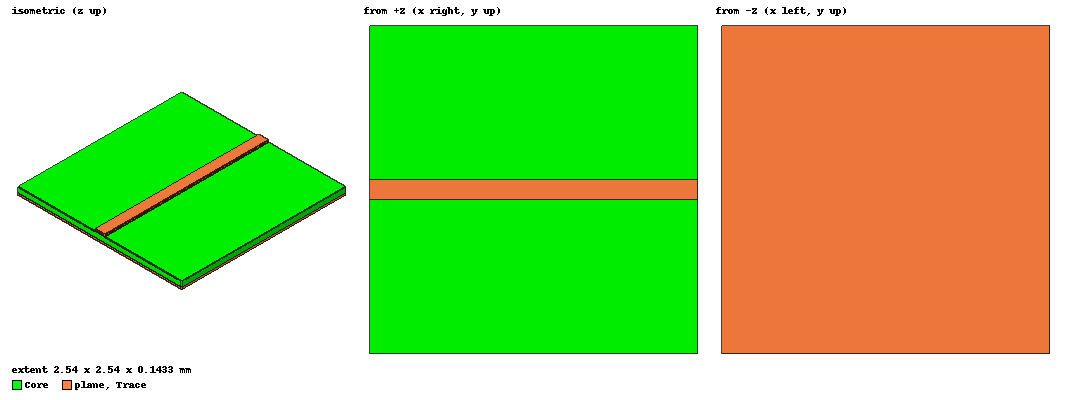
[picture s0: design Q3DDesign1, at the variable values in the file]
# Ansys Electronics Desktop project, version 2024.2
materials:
  vacuum: permittivity=1
  copper: permeability=0.999991 conductivity=58000000
  Core_38: permittivity=3.8 dielectric_loss_tangent=0.02

design Q3DDesign1 (Q3D Extractor, model units mm)
options: SParamCalcMethod=EqTransLine Calculate_Lossy_Dielectrics
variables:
  T = 1.2mil
  xlen = 100mil
  ylen = 100mil
  Tsub = 3.24mil
  w_t = 6mil
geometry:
  plane [copper] = box(corner=(-xlen/2, -ylen/2, 0mm), size=(xlen, ylen, t))
  Core [Core_38] = box(corner=(-xlen/2, -ylen/2, t), size=(xlen, ylen, Tsub))
  Trace [copper] = box(corner=(-xlen/2, -w_t/2, T+Tsub), size=(xlen, w_t, T))
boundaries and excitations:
  plane: SignalNet Objects=plane
  Trace: SignalNet Objects=Trace
  Source_trace: Source Faces=Trace.face(-x) TerminalType=ConstantVoltage Net=Trace
  Source_plant: Source Faces=plane.face(-x) TerminalType=ConstantVoltage Net=plane
  Sink_trace: Sink Faces=Trace.face(+x) TerminalType=ConstantVoltage Net=Trace
  Sink_plant: Sink Faces=plane.face(+x) TerminalType=ConstantVoltage Net=plane
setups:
  Setup1: Matrix AdaptiveFreq=1GHz SaveFields Cap{MaxPass=50 MinPass=1 MinConvPass=2 PerError=1 PerRefine=30 AutoIncreaseAccuracy AccuracyLevel=High Solver_Type=Iterative} DC{Cond{MaxPass=50 MinPass=1 MinConvPass=1 PerError=1 PerRefine=30} Mult{MaxPass=50 MinPass=1 MinConvPass=2 PerError=1 PerRefine=30} AccuracyLevel=Normal} AC{MaxPass=50 MinPass=1 MinConvPass=2 PerError=1 PerRefine=30 ACRLSolverType=ACA} ErrorValue=0.1
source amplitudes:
  plane:Source_plant: AC R/L Fields 0A
  Trace:Source_trace: AC R/L Fields 1A
  plane: CG Fields 1V 0deg
  Trace: CG Fields 0V 0deg
  plane:Source_plant: DC R/L Fields 0A
  Trace:Source_trace: DC R/L Fields 1A
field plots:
  SmoothQ1: Q over plane.face(all 6) on Setup1 : LastAdaptive at Freq=1GHz Phase=0deg
